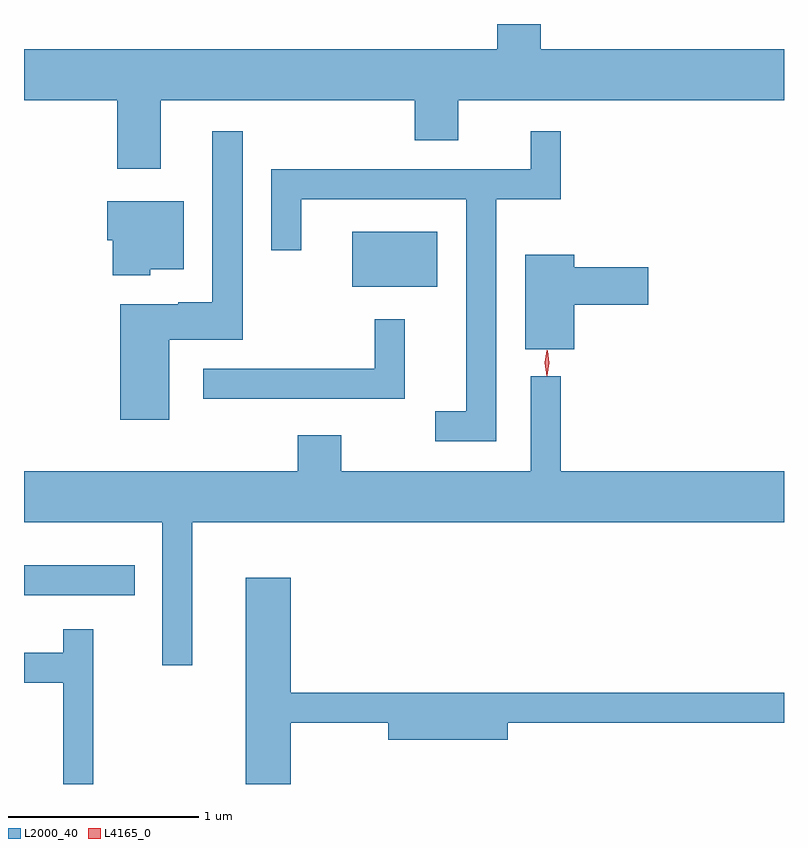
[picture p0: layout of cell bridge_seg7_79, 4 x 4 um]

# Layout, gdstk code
import gdstk
lib = gdstk.Library(unit=1e-6, precision=1e-09)
def R(c, l, rs):  # rectangles x0, y0, x1, y1
    for r in rs: c.add(gdstk.rectangle(r[:2], r[2:], *l))
def P(c, l, *ps):  # polygons
    for p in ps: c.add(gdstk.Polygon(p, *l))
L2000_40 = (2000, 40)
L4165_0 = (4165, 0)

bridge_seg7_79 = lib.new_cell('bridge_seg7_79')
R(bridge_seg7_79, L2000_40, [(1547.199,1749.451,1547.783,1749.609), (1548.926,1751.076,1549.374,1751.364)])
P(bridge_seg7_79, L2000_40, [(1547.919,1752.056),(1549.256,1752.056),(1549.256,1751.846),(1549.484,1751.846),(1549.484,1752.056),(1551.199,1752.056),(1551.199,1752.324),(1549.919,1752.324),(1549.919,1752.458),(1549.691,1752.458),(1549.691,1752.324),(1547.199,1752.324),(1547.199,1752.056),(1547.691,1752.056),(1547.691,1751.696),(1547.919,1751.696)],
  [(1549.684,1751.536),(1550.024,1751.536),(1550.024,1751.893),(1549.866,1751.893),(1549.866,1751.694),(1548.501,1751.694),(1548.501,1751.268),(1548.659,1751.268),(1548.659,1751.536),(1549.526,1751.536),(1549.526,1750.419),(1549.363,1750.419),(1549.363,1750.261),(1549.684,1750.261)],
  [(1547.964,1750.796),(1548.349,1750.796),(1548.349,1751.893),(1548.191,1751.893),(1548.191,1750.994),(1548.01,1750.994),(1548.01,1750.984),(1547.706,1750.984),(1547.706,1750.376),(1547.964,1750.376)],
  [(1547.864,1751.166),(1548.039,1751.166),(1548.039,1751.524),(1547.636,1751.524),(1547.636,1751.321),(1547.666,1751.321),(1547.666,1751.136),(1547.864,1751.136)],
  [(1550.094,1750.981),(1550.484,1750.981),(1550.484,1751.179),(1550.094,1751.179),(1550.094,1751.244),(1549.836,1751.244),(1549.836,1750.746),(1550.094,1750.746)],
  [(1549.204,1750.903),(1549.046,1750.903),(1549.046,1750.644),(1548.143,1750.644),(1548.143,1750.486),(1549.204,1750.486)],
  [(1548.084,1749.836),(1551.199,1749.836),(1551.199,1750.104),(1550.024,1750.104),(1550.024,1750.603),(1549.866,1750.603),(1549.866,1750.104),(1548.869,1750.104),(1548.869,1750.294),(1548.641,1750.294),(1548.641,1750.104),(1547.199,1750.104),(1547.199,1749.836),(1547.926,1749.836),(1547.926,1749.083),(1548.084,1749.083)],
  [(1548.604,1748.781),(1549.116,1748.781),(1549.116,1748.691),(1549.744,1748.691),(1549.744,1748.781),(1551.199,1748.781),(1551.199,1748.939),(1548.604,1748.939),(1548.604,1749.544),(1548.366,1749.544),(1548.366,1748.458),(1548.604,1748.458)],
  [(1547.564,1749.273),(1547.406,1749.273),(1547.406,1749.149),(1547.199,1749.149),(1547.199,1748.991),(1547.406,1748.991),(1547.406,1748.458),(1547.564,1748.458)])
P(bridge_seg7_79, L4165_0, [(1549.949,1750.605),(1549.949,1750.605),(1549.94,1750.674),(1549.951,1750.742),(1549.952,1750.742),(1549.952,1750.742),(1549.96,1750.673),(1549.95,1750.605)],
  [(1549.951,1750.608),(1549.943,1750.674),(1549.954,1750.739),(1549.954,1750.74),(1549.955,1750.739),(1549.963,1750.674),(1549.952,1750.608),(1549.952,1750.608)])

lib.write_gds('bridge_seg7_79.gds')
